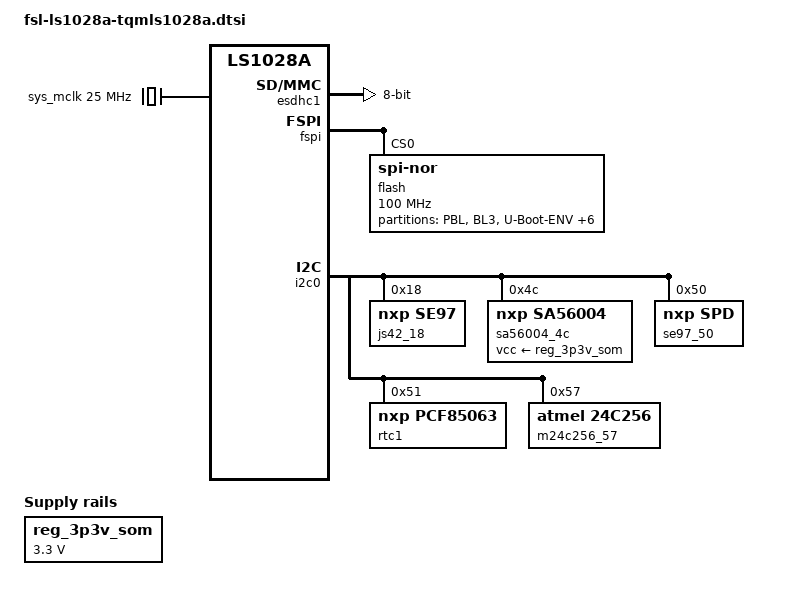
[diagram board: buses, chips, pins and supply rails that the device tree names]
// SPDX-License-Identifier: (GPL-2.0-or-later OR MIT)
/*
 * Device Tree file for TQMLS1028A module
 *
 * Copyright 2019-2020 TQ-Systems GmbH
 *
 * Authors: Michael Krummsdorf <michael.krummsdorf@tq-group.com>
 *          Matthias Schiffer <matthias.schiffer@tq-group.com>
 */

#include "fsl-ls1028a.dtsi"

/ {
	compatible = "tq,ls1028a-tqmls1028a", "fsl,ls1028a";

	reg_3p3v_som: regulator-3p3v-som {
		compatible = "regulator-fixed";
		regulator-name = "3P3V_SOM";
		regulator-min-microvolt = <3300000>;
		regulator-max-microvolt = <3300000>;
		regulator-always-on;
	};

	sys_mclk: clock-mclk {
		compatible = "fixed-clock";
		#clock-cells = <0>;
		clock-frequency = <25000000>;
	};
};

&soc {
	thermal-zones {
		core-cluster {
			thermal-sensors = <&sa56004_4c 1>;
		};
	};
};

&esdhc1 {
	status = "okay";
	no-sdio;
	no-sd;
	mmc-hs200-1_8v;
	mmc-hs400-1_8v;
	mmc-ddr-1_8v;
	bus-width = <8>;
};

&fspi {
	status = "okay";

	flash@0 {
		#address-cells = <1>;
		#size-cells = <1>;
		compatible = "jedec,spi-nor";  /* 64MB */
		reg = <0>;
		spi-max-frequency = <100000000>;

		partitions {
			compatible = "fixed-partitions";
			#address-cells = <1>;
			#size-cells = <1>;

			pbl@0 {
				label = "PBL";
				reg = <0x0 0x100000>;
			};

			bl3@100000 {
				label = "BL3";
				reg = <0x100000 0x400000>;
			};

			ubootenv@500000 {
				label = "U-Boot-ENV";
				reg = <0x500000 0x100000>;
			};

			reserved1@600000 {
				label = "Reserved1";
				reg = <0x600000 0x340000>;
			};

			hdp@940000 {
				label = "HDP";
				reg = <0x940000 0x40000>;
			};

			reserved2@980000 {
				label = "Reserved2";
				reg = <0x980000 0x580000>;
			};

			dtb@f00000 {
				label = "DTB";
				reg = <0xf00000 0x100000>;
			};

			linux@1000000 {
				label = "Linux";
				reg = <0x1000000 0xa00000>;
			};

			rootfs@1a00000 {
				label = "RootFS";
				reg = <0x1a00000 0x2600000>;
			};
		};
	};
};

&i2c0 {
	status = "okay";

	js42_18: eeprom-temperature-sensor@18 {
		compatible = "nxp,se97", "jedec,jc-42.4-temp";
		reg = <0x18>;
		status = "okay";
	};

	sa56004_4c: temperature-sensor@4c {
		compatible = "nxp,sa56004";
		reg = <0x4c>;
		#thermal-sensor-cells = <1>;
		vcc-supply = <&reg_3p3v_som>;
		status = "okay";
	};

	se97_50: eeprom@50 {
		compatible = "nxp,spd", "atmel,24c02";
		reg = <0x50>;
		pagesize = <16>;
		status = "okay";
	};

	rtc1: rtc@51 {
		compatible = "nxp,pcf85063";
		reg = <0x51>;
		quartz-load-femtofarads = <12500>;
		status = "okay";
	};

	m24c256_57: eeprom@57 {
		compatible = "atmel,24c256";
		pagesize = <32>;
		reg = <0x57>;
		status = "okay";
	};
};

&hdptx0 {
	status = "disabled";
};

&malidp0 {
	status = "disabled";
};

&usb0 {
	status = "disabled";
};

&usb1 {
	status = "disabled";
};

/*
  We use a separate sensor IC to measure core temperature. Disable the TMU
  as its driver can cause log spam outside of its measurement range (0-125C).

  Will have to be reevaluated if this DTS is ported to a mainline kernel,
  as both sensors of the TMU are referenced by the default LS1028A
  thermal-zones definitions there.
*/
&tmu {
	status = "disabled";
};
